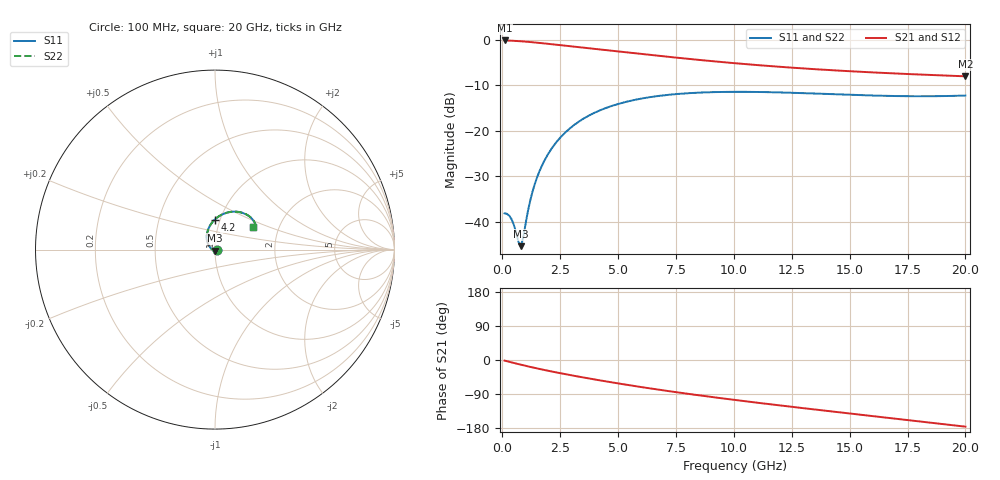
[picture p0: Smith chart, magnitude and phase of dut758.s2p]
! Touchstone file exported from HFSS 2024.1.0
!  File:  C:/UserFiles/LocalFiles/RDL_TSV_Batchsim/temp_RDL_TSV_758_1779899681.aedt
!  Generated:  12:49:18 AM May 28, 2026
!  Design:  RDL_TSV
!  Project:  temp_RDL_TSV_758_1779899681
!  Setup:  Setup1
!  Solution:  Sweep
! Variables:
!  dtsv = 11.68um
!  hbump = 3um
!  htsv = 64.61um
!  ldown = 698um
!  lrdl = 109.13um
!  p = 40
!  p1 = 48.57um
!  rhole = 10um
!  subl = 2530.52um
!  t = 450um
!  tdown = 3.03um
!  trdl = 4.91um
!  viad = 10um
!  wdown = 25.16um
!  wrdl = 14.66um
!  xbump = 18um
# GHz S MA R 50.000000
! Terminal data exported
! Port[1] = TM1_1_T1
! Port[2] = TM1_4_T1
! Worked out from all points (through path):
!   200 points, 100 MHz to 20 GHz, reference 50 ohm
!   highest |S21| = -0.11 dB at 100 MHz (marker M1); lowest = -8.0 dB at 20 GHz (marker M2)
!   group delay of S21, straight-line fit = 23 ps
!   lowest |S11| = -45.4 dB at 800 MHz (marker M3), VSWR 1.01, Z = 49.9 - j0.518 ohm
!   |S11| at or under -10 dB: start of sweep to end of sweep
!   |S22| runs from -45.4 to -11.4 dB; largest |S21 - S12| = 1.5e-14
!   S11 on the Smith chart (normalised r, x): 100 MHz: 1.02, -0.00; 4.2 GHz: 0.94, +0.32; 20 GHz: 1.47, +0.39
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0.1  0.01234 -3.2  0.9871 -1.6  0.9871 -1.6  0.01234 -3.2
! Gamma 0 0 0 0
! Port Impedance 50 0 50 0
0.3  0.01162 -13.9  0.9835 -4.8  0.9835 -4.8  0.01162 -13.9
0.4  0.01061 -21.8  0.981 -6.3  0.981 -6.3  0.01061 -21.8
0.5  0.009188 -32.1  0.9781 -7.9  0.9781 -7.9  0.00918 -32.1
0.7  0.00596 -69.4  0.9713 -10.9  0.9713 -10.9  0.005949 -69.5
0.8  0.005362 -104.2  0.9674 -12.4  0.9674 -12.4  0.005357 -104.5
0.9  0.006575 -139.4  0.9631 -13.8  0.9631 -13.8  0.006585 -139.6
1.1  0.01278 -176.5  0.9539 -16.7  0.9539 -16.7  0.01281 -176.6
1.3  0.02113 166.5  0.9437 -19.5  0.9437 -19.5  0.02118 166.5
1.5  0.03055 155.6  0.933 -22.2  0.933 -22.2  0.03061 155.6
1.8  0.04588 143.5  0.9163 -26.1  0.9163 -26.1  0.04597 143.5
2.1  0.062 133.8  0.8994 -29.9  0.8994 -29.9  0.06211 133.8
2.5  0.08383 123.1  0.8769 -34.8  0.8769 -34.8  0.08397 123.0
3.5  0.1356 102.1  0.8228 -46.1  0.8228 -46.1  0.1358 102.1
4.2  0.167 90.5  0.787 -53.6  0.787 -53.6  0.1673 90.5
5.4  0.2098 74.6  0.7289 -65.7  0.7289 -65.7  0.2101 74.6
6.8  0.2427 60.3  0.6673 -78.7  0.6673 -78.7  0.2431 60.3
8.4  0.2623 48.0  0.6062 -92.4  0.6062 -92.4  0.2628 48.1
10.1  0.2684 38.6  0.5528 -105.8  0.5528 -105.8  0.2689 38.7
13.4  0.2575 28.4  0.4782 -129.9  0.4782 -129.9  0.2581 28.5
16.7  0.2419 26.9  0.4305 -153.0  0.4305 -153.0  0.2425 27.0
20  0.2442 30.6  0.3978 -175.9  0.3978 -175.9  0.2449 30.7
